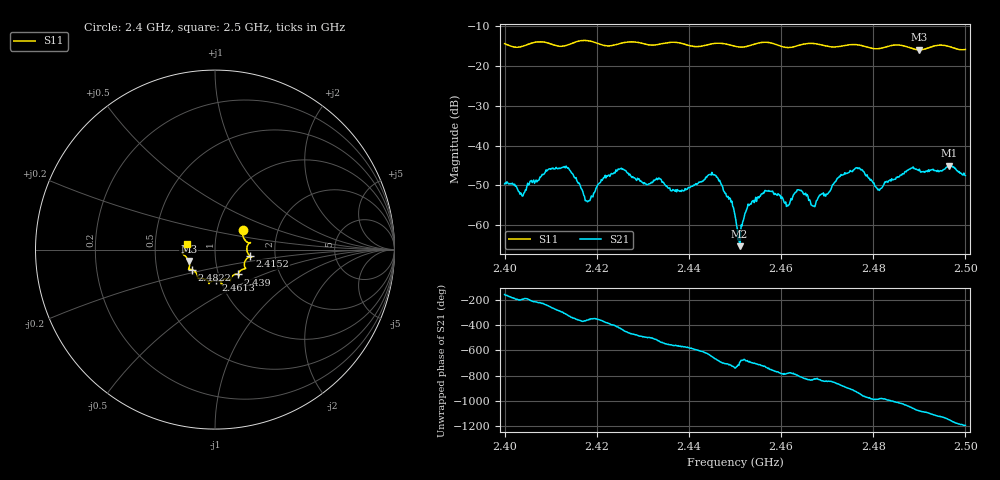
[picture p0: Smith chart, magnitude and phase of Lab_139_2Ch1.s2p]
# Hz S RI R 50
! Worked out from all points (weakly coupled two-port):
!   601 points, 2.4 GHz to 2.5 GHz, reference 50 ohm
!   highest |S21| = -45.00 dB at 2.4965 GHz (marker M1); lowest = -65.3 dB at 2.451 GHz (marker M2)
!   lowest |S11| = -15.9 dB at 2.49 GHz (marker M3), VSWR 1.38, Z = 36.9 - j4.84 ohm
!   |S11| at or under -10 dB: start of sweep to end of sweep
!   S12 and S22 are empty: the file has one direction only
!   S11 on the Smith chart (normalised r, x): 2.4 GHz: 1.33, +0.31; 2.4152 GHz: 1.48, -0.11; 2.439 GHz: 1.24, -0.36; 2.4613 GHz: 0.96, -0.34; 2.4822 GHz: 0.76, -0.17; 2.5 GHz: 0.73, +0.05
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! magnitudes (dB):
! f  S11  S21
! 2.4 GHz  -14.4  -49.6
! 2.4038 GHz  -15.0  -52.7
! 2.4152 GHz  -14.1  -48.0
! 2.4167 GHz  -13.6  -50.9
! 2.4182 GHz  -13.6  -53.9
! 2.4252 GHz  -14.3  -45.8
! 2.4333 GHz  -14.6  -48.4
! 2.439 GHz  -14.5  -51.3
! 2.4455 GHz  -14.3  -47.3
! 2.45 GHz  -15.0  -57.5
! 2.451 GHz  -15.2  -65.3
! 2.4527 GHz  -15.0  -55.6
! 2.4562 GHz  -14.0  -51.8
! 2.4613 GHz  -15.3  -55.0
! 2.464 GHz  -14.7  -51.2
! 2.4667 GHz  -14.3  -55.0
! 2.4765 GHz  -14.6  -45.6
! 2.4822 GHz  -15.4  -50.1
! 2.4833 GHz  -15.0  -48.9
! 2.49 GHz  -15.9  -45.9
! 2.4965 GHz  -15.1  -45.0
! 2.5 GHz  -15.8  -47.5
